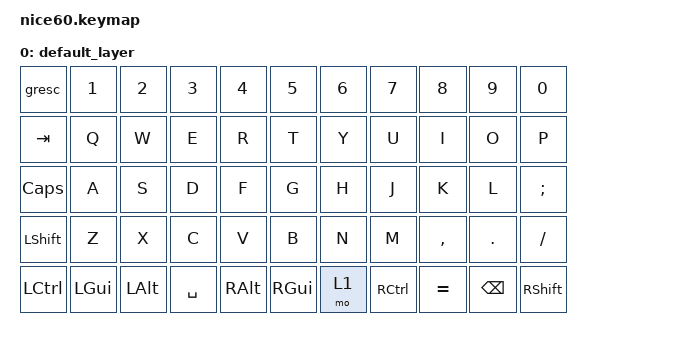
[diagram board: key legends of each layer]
/*
 * Copyright (c) 2021 Nick Winans
 *
 * SPDX-License-Identifier: MIT
 */

#include <behaviors.dtsi>
#include <dt-bindings/zmk/keys.h>
#include <dt-bindings/zmk/rgb.h>
#include <dt-bindings/zmk/bt.h>

/ {
    keymap {
        compatible = "zmk,keymap";

        default_layer {

            bindings = <
    &gresc      &kp N1   &kp N2   &kp N3    &kp N4    &kp N5    &kp N6 &kp N7     &kp N8     &kp N9   &kp N0 
    &kp TAB     &kp Q    &kp W    &kp E     &kp R     &kp T     &kp Y  &kp U      &kp I      &kp O    &kp P  
    &kp CLCK    &kp A    &kp S    &kp D     &kp F     &kp G     &kp H  &kp J      &kp K      &kp L    &kp SEMI
    &kp LSHFT   &kp Z    &kp X    &kp C     &kp V     &kp B     &kp N  &kp M      &kp COMMA  &kp DOT  &kp FSLH           
    &kp LCTRL   &kp LGUI &kp LALT &kp SPACE &kp RALT  &kp RGUI  &mo 1  &kp RCTRL  &kp EQUAL  &kp BSPC &kp RSHFT
            >;
        };

    };
};
